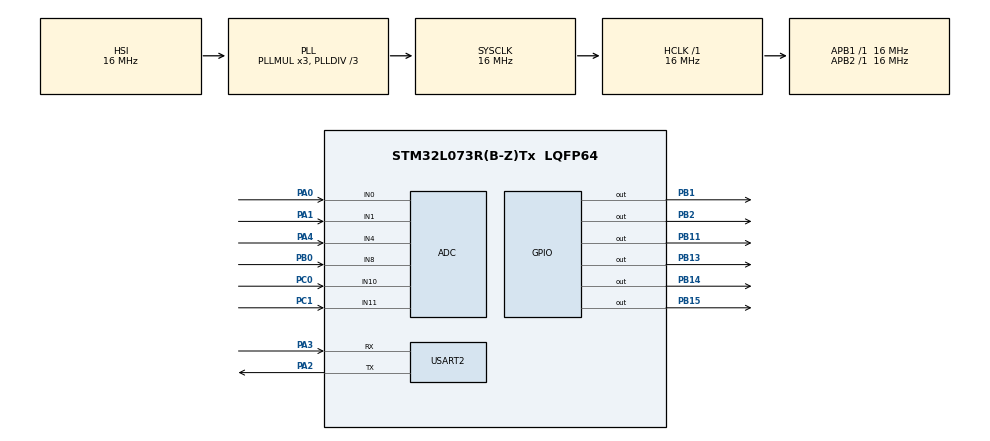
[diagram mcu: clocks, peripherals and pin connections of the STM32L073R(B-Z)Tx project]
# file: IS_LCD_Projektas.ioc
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ADC.ClockPrescaler=ADC_CLOCK_SYNC_PCLK_DIV2
ADC.ExternalTrigConv=ADC_SOFTWARE_START
ADC.SamplingTime=ADC_SAMPLETIME_160CYCLES_5
Dma.ADC.0.Direction=DMA_PERIPH_TO_MEMORY
Dma.ADC.0.Instance=DMA1_Channel1
Dma.ADC.0.MemDataAlignment=DMA_MDATAALIGN_HALFWORD
Dma.ADC.0.MemInc=DMA_MINC_ENABLE
Dma.ADC.0.Mode=DMA_CIRCULAR
Dma.ADC.0.PeriphDataAlignment=DMA_PDATAALIGN_HALFWORD
Dma.ADC.0.PeriphInc=DMA_PINC_DISABLE
Dma.ADC.0.Priority=DMA_PRIORITY_LOW
Dma.Request0=ADC
Mcu.Family=STM32L0
Mcu.Name=STM32L073R(B-Z)Tx
Mcu.Package=LQFP64
NVIC.DMA1_Channel1_IRQn=true\:0\:0\:false\:false\:true\:false\:true\:true
PA0.Mode=IN0
PA0.Signal=ADC_IN0
PA1.Mode=IN1
PA1.Signal=ADC_IN1
PA13.Mode=Serial_Wire
PA13.Signal=SYS_SWDIO
PA14.Mode=Serial_Wire
PA14.Signal=SYS_SWCLK
PA2.Mode=Asynchronous
PA2.Signal=USART2_TX
PA3.Mode=Asynchronous
PA3.Signal=USART2_RX
PA4.Mode=IN4
PA4.Signal=ADC_IN4
PB0.Mode=IN8
PB0.Signal=ADC_IN8
PB1.Signal=GPIO_Output
PB11.Signal=GPIO_Output
PB13.Signal=GPIO_Output
PB14.Signal=GPIO_Output
PB15.Signal=GPIO_Output
PB2.Signal=GPIO_Output
PC0.Mode=IN10
PC0.Signal=ADC_IN10
PC1.Mode=IN11
PC1.Signal=ADC_IN11
PC14-OSC32_IN.Mode=LSE-External-Oscillator
PC14-OSC32_IN.Signal=RCC_OSC32_IN
PC15-OSC32_OUT.Mode=LSE-External-Oscillator
PC15-OSC32_OUT.Signal=RCC_OSC32_OUT
ProjectManager.HeapSize=0x200
ProjectManager.StackSize=0x400
ProjectManager.TargetToolchain=MDK-ARM V5.32
RCC.AHBFreq_Value=16000000
RCC.APB1Freq_Value=16000000
RCC.APB1TimFreq_Value=16000000
RCC.APB2Freq_Value=16000000
RCC.APB2TimFreq_Value=16000000
RCC.HCLKFreq_Value=16000000
RCC.HSE_VALUE=8000000
RCC.HSI16_VALUE=16000000
RCC.HSI48_VALUE=48000000
RCC.HSI_VALUE=16000000
RCC.MSI_VALUE=2097000
RCC.PLLDIV=RCC_PLLDIV_3
RCC.SYSCLKFreq_VALUE=16000000
RCC.SYSCLKSource=RCC_SYSCLKSOURCE_PLLCLK
RCC.VCOOutputFreq_Value=48000000
TIM6.AutoReloadPreload=TIM_AUTORELOAD_PRELOAD_ENABLE
TIM6.Period=1000
TIM6.Prescaler=16000
TIM6.TIM_MasterOutputTrigger=TIM_TRGO_UPDATE
USART2.VirtualMode-Asynchronous=VM_ASYNC
VP_TIM6_VS_ClockSourceINT.Mode=Enable_Timer
board=custom

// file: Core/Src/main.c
/* USER CODE BEGIN Header */
/**
  ******************************************************************************
  * @file           : main.c
  * @brief          : Main program body
  ******************************************************************************
  * @attention
  *
  * Copyright (c) 2025 STMicroelectronics.
  * All rights reserved.
  *
  * This software is licensed under terms that can be found in the LICENSE file
  * in the root directory of this software component.
  * If no LICENSE file comes with this software, it is provided AS-IS.
  *
  ******************************************************************************
  */
/* USER CODE END Header */
#include "main.h"

/* USER CODE BEGIN Includes */
#include "LCD1602.h"
#include "stm32l0xx_hal.h"
#include <stdio.h>
#include <math.h>
/* USER CODE END Includes */

/* USER CODE BEGIN PD */
#define LCD_Update 2000 // 2 Sekundes LCD update
#define UART_Update 1000 // 1 Sekundes UART update
#define CALC_Update 300 // 300ms Skaiciavimu update

/* USER CODE END PD */

ADC_HandleTypeDef hadc;
DMA_HandleTypeDef hdma_adc;

TIM_HandleTypeDef htim6;

UART_HandleTypeDef huart2;

void SystemClock_Config(void);
static void MX_GPIO_Init(void);
static void MX_DMA_Init(void);
static void MX_TIM6_Init(void);
static void MX_ADC_Init(void);
static void MX_USART2_UART_Init(void);

/* USER CODE BEGIN 0 */
volatile uint16_t adc_values[6];
volatile uint8_t adc_flag = 0;

float voltage1;
float voltage2;
float voltage3;
float voltage4;
float voltage5;
float voltage6;

uint32_t lcd_last_tick = 0;
uint32_t uart_last_tick = 0;
uint32_t calc_last_tick = 0;

float avg;
char lcd_buffer[20];

uint8_t rxData;
char txMessage[20];

/* USER CODE END 0 */

int main(void)
{

  /* MCU Configuration--------------------------------------------------------*/

  /* Reset of all peripherals, Initializes the Flash interface and the Systick. */
  HAL_Init();

  /* Configure the system clock */
  SystemClock_Config();

  /* Initialize all configured peripherals */
  MX_GPIO_Init();
  MX_DMA_Init();
  MX_TIM6_Init();
  MX_ADC_Init();
  MX_USART2_UART_Init();
  /* USER CODE BEGIN 2 */

	LCD_Init();
	HAL_TIM_Base_Start(&htim6);
	HAL_ADCEx_Calibration_Start(&hadc, ADC_SINGLE_ENDED);
	HAL_ADC_Start_DMA(&hadc, (uint32_t*)adc_values, 6); // Paleid�iame ADC DMA
  /* USER CODE END 2 */

  /* Infinite loop */
  /* USER CODE BEGIN WHILE */

  while (1)
  {
		uint32_t currentTime = HAL_GetTick();
		if (adc_flag == 1)
		{
			if ((currentTime - calc_last_tick) >= CALC_Update){
				calc_last_tick = currentTime;

				adc_flag = 0;
				avg = 0;
				voltage1 = (adc_values[0] / 4095.0f) * 3.3f;
				voltage2 = (adc_values[1] / 4095.0f) * 3.3f;
				voltage3 = (adc_values[2] / 4095.0f) * 3.3f;
				voltage4 = (adc_values[3] / 4095.0f) * 3.3f;
				voltage5 = (adc_values[4] / 4095.0f) * 3.3f;
				voltage6 = (adc_values[5] / 4095.0f) * 3.3f;
				// -----
				if (voltage2 < 0.91){
					voltage2 = voltage2 * 11.0f;
					voltage1 = 0;
					if (voltage2 >= 0.1){
						avg += voltage2;
					}
					else{
						voltage2 = 0;
						avg += voltage2;
					}
				}
				else{
					voltage2 = 0;
					voltage1 = voltage1 * 6.5476f;
					avg += voltage1;
					// -----

				}
				if (voltage4 < 0.91){
					voltage4 = voltage4 * 11.0f;
					voltage3 = 0;
					if (voltage4 >= 0.1){
						avg += voltage4;
					}
					else{
						voltage4 = 0;
						avg += voltage4;
					}
				}
				else{
					voltage4 = 0;
					voltage3 = voltage3 * 6.5476f;
					avg += voltage3;
				}
				// -----

				if (voltage5 < 0.91){
					voltage5 = voltage5 * 11.0f;
					voltage6 = 0;
					if (voltage5 >= 0.1){
					avg += voltage5;
					}
					else{
						voltage5 = 0;
						avg += voltage5;
					}
				}
				else{
					voltage5 = 0;
					voltage6 = voltage6 * 6.5476f;
					avg += voltage6;
				}
				avg = avg/3;
			}
				// -----

	if ((currentTime - uart_last_tick) >= UART_Update){
		uart_last_tick = currentTime;

		snprintf(txMessage, sizeof(txMessage), "Vidurkis: %.2fV\r\n", avg);
		HAL_UART_Transmit(&huart2, (uint8_t *)txMessage, sizeof(txMessage), HAL_MAX_DELAY);
	}

	if ((currentTime - lcd_last_tick) >= LCD_Update){
				lcd_last_tick = currentTime;
				snprintf(lcd_buffer, sizeof(lcd_buffer), "Uavg=%.2fV", avg);
				LCD_SetCursor(0, 0);
				LCD_SendString(lcd_buffer);
			}
			HAL_ADC_Start_DMA(&hadc, (uint32_t*)adc_values, 6);
		}
    /* USER CODE END WHILE */

	}
}

void SystemClock_Config(void)
{
  RCC_OscInitTypeDef RCC_OscInitStruct = {0};
  RCC_ClkInitTypeDef RCC_ClkInitStruct = {0};
  RCC_PeriphCLKInitTypeDef PeriphClkInit = {0};

  /** Configure the main internal regulator output voltage
  */
  __HAL_PWR_VOLTAGESCALING_CONFIG(PWR_REGULATOR_VOLTAGE_SCALE1);

  /** Initializes the RCC Oscillators according to the specified parameters
  * in the RCC_OscInitTypeDef structure.
  */
  RCC_OscInitStruct.OscillatorType = RCC_OSCILLATORTYPE_HSI;
  RCC_OscInitStruct.HSIState = RCC_HSI_ON;
  RCC_OscInitStruct.HSICalibrationValue = RCC_HSICALIBRATION_DEFAULT;
  RCC_OscInitStruct.PLL.PLLState = RCC_PLL_ON;
  RCC_OscInitStruct.PLL.PLLSource = RCC_PLLSOURCE_HSI;
  RCC_OscInitStruct.PLL.PLLMUL = RCC_PLLMUL_3;
  RCC_OscInitStruct.PLL.PLLDIV = RCC_PLLDIV_3;
  if (HAL_RCC_OscConfig(&RCC_OscInitStruct) != HAL_OK)
  {
    Error_Handler();
  }

  /** Initializes the CPU, AHB and APB buses clocks
  */
  RCC_ClkInitStruct.ClockType = RCC_CLOCKTYPE_HCLK|RCC_CLOCKTYPE_SYSCLK
                              |RCC_CLOCKTYPE_PCLK1|RCC_CLOCKTYPE_PCLK2;
  RCC_ClkInitStruct.SYSCLKSource = RCC_SYSCLKSOURCE_PLLCLK;
  RCC_ClkInitStruct.AHBCLKDivider = RCC_SYSCLK_DIV1;
  RCC_ClkInitStruct.APB1CLKDivider = RCC_HCLK_DIV1;
  RCC_ClkInitStruct.APB2CLKDivider = RCC_HCLK_DIV1;

  if (HAL_RCC_ClockConfig(&RCC_ClkInitStruct, FLASH_LATENCY_0) != HAL_OK)
  {
    Error_Handler();
  }
  PeriphClkInit.PeriphClockSelection = RCC_PERIPHCLK_USART2;
  PeriphClkInit.Usart2ClockSelection = RCC_USART2CLKSOURCE_PCLK1;
  if (HAL_RCCEx_PeriphCLKConfig(&PeriphClkInit) != HAL_OK)
  {
    Error_Handler();
  }
}

static void MX_ADC_Init(void)
{

  ADC_ChannelConfTypeDef sConfig = {0};

  /** Configure the global features of the ADC (Clock, Resolution, Data Alignment and number of conversion)
  */
  hadc.Instance = ADC1;
  hadc.Init.OversamplingMode = DISABLE;
  hadc.Init.ClockPrescaler = ADC_CLOCK_SYNC_PCLK_DIV2;
  hadc.Init.Resolution = ADC_RESOLUTION_12B;
  hadc.Init.SamplingTime = ADC_SAMPLETIME_160CYCLES_5;
  hadc.Init.ScanConvMode = ADC_SCAN_DIRECTION_FORWARD;
  hadc.Init.DataAlign = ADC_DATAALIGN_RIGHT;
  hadc.Init.ContinuousConvMode = DISABLE;
  hadc.Init.DiscontinuousConvMode = DISABLE;
  hadc.Init.ExternalTrigConvEdge = ADC_EXTERNALTRIGCONVEDGE_NONE;
  hadc.Init.ExternalTrigConv = ADC_SOFTWARE_START;
  hadc.Init.DMAContinuousRequests = DISABLE;
  hadc.Init.EOCSelection = ADC_EOC_SINGLE_CONV;
  hadc.Init.Overrun = ADC_OVR_DATA_PRESERVED;
  hadc.Init.LowPowerAutoWait = DISABLE;
  hadc.Init.LowPowerFrequencyMode = DISABLE;
  hadc.Init.LowPowerAutoPowerOff = DISABLE;
  if (HAL_ADC_Init(&hadc) != HAL_OK)
  {
    Error_Handler();
  }

  /** Configure for the selected ADC regular channel to be converted.
  */
  sConfig.Channel = ADC_CHANNEL_0;
  sConfig.Rank = ADC_RANK_CHANNEL_NUMBER;
  if (HAL_ADC_ConfigChannel(&hadc, &sConfig) != HAL_OK)
  {
    Error_Handler();
  }

  /** Configure for the selected ADC regular channel to be converted.
  */
  sConfig.Channel = ADC_CHANNEL_1;
  if (HAL_ADC_ConfigChannel(&hadc, &sConfig) != HAL_OK)
  {
    Error_Handler();
  }

  /** Configure for the selected ADC regular channel to be converted.
  */
  sConfig.Channel = ADC_CHANNEL_4;
  if (HAL_ADC_ConfigChannel(&hadc, &sConfig) != HAL_OK)
  {
    Error_Handler();
  }

  /** Configure for the selected ADC regular channel to be converted.
  */
  sConfig.Channel = ADC_CHANNEL_8;
  if (HAL_ADC_ConfigChannel(&hadc, &sConfig) != HAL_OK)
  {
    Error_Handler();
  }

  /** Configure for the selected ADC regular channel to be converted.
  */
  sConfig.Channel = ADC_CHANNEL_10;
  if (HAL_ADC_ConfigChannel(&hadc, &sConfig) != HAL_OK)
  {
    Error_Handler();
  }

  /** Configure for the selected ADC regular channel to be converted.
  */
  sConfig.Channel = ADC_CHANNEL_11;
  if (HAL_ADC_ConfigChannel(&hadc, &sConfig) != HAL_OK)
  {
    Error_Handler();
  }

}

static void MX_TIM6_Init(void)
{

  TIM_MasterConfigTypeDef sMasterConfig = {0};

  htim6.Instance = TIM6;
  htim6.Init.Prescaler = 16000;
  htim6.Init.CounterMode = TIM_COUNTERMODE_UP;
  htim6.Init.Period = 1000;
  htim6.Init.AutoReloadPreload = TIM_AUTORELOAD_PRELOAD_ENABLE;
  if (HAL_TIM_Base_Init(&htim6) != HAL_OK)
  {
    Error_Handler();
  }
  sMasterConfig.MasterOutputTrigger = TIM_TRGO_UPDATE;
  sMasterConfig.MasterSlaveMode = TIM_MASTERSLAVEMODE_DISABLE;
  if (HAL_TIMEx_MasterConfigSynchronization(&htim6, &sMasterConfig) != HAL_OK)
  {
    Error_Handler();
  }

}

static void MX_USART2_UART_Init(void)
{

  huart2.Instance = USART2;
  huart2.Init.BaudRate = 115200;
  huart2.Init.WordLength = UART_WORDLENGTH_8B;
  huart2.Init.StopBits = UART_STOPBITS_1;
  huart2.Init.Parity = UART_PARITY_NONE;
  huart2.Init.Mode = UART_MODE_TX_RX;
  huart2.Init.HwFlowCtl = UART_HWCONTROL_NONE;
  huart2.Init.OverSampling = UART_OVERSAMPLING_16;
  huart2.Init.OneBitSampling = UART_ONE_BIT_SAMPLE_DISABLE;
  huart2.AdvancedInit.AdvFeatureInit = UART_ADVFEATURE_NO_INIT;
  if (HAL_UART_Init(&huart2) != HAL_OK)
  {
    Error_Handler();
  }

}

static void MX_DMA_Init(void)
{

  /* DMA controller clock enable */
  __HAL_RCC_DMA1_CLK_ENABLE();

  /* DMA interrupt init */
  /* DMA1_Channel1_IRQn interrupt configuration */
  HAL_NVIC_SetPriority(DMA1_Channel1_IRQn, 0, 0);
  HAL_NVIC_EnableIRQ(DMA1_Channel1_IRQn);

}

static void MX_GPIO_Init(void)
{
  GPIO_InitTypeDef GPIO_InitStruct = {0};

  /* GPIO Ports Clock Enable */
  __HAL_RCC_GPIOC_CLK_ENABLE();
  __HAL_RCC_GPIOA_CLK_ENABLE();
  __HAL_RCC_GPIOB_CLK_ENABLE();

  /*Configure GPIO pin Output Level */
  HAL_GPIO_WritePin(GPIOB, GPIO_PIN_1|GPIO_PIN_2|GPIO_PIN_11|GPIO_PIN_13
                          |GPIO_PIN_14|GPIO_PIN_15, GPIO_PIN_RESET);

  /*Configure GPIO pins : PB1 PB2 PB11 PB13
                           PB14 PB15 */
  GPIO_InitStruct.Pin = GPIO_PIN_1|GPIO_PIN_2|GPIO_PIN_11|GPIO_PIN_13
                          |GPIO_PIN_14|GPIO_PIN_15;
  GPIO_InitStruct.Mode = GPIO_MODE_OUTPUT_PP;
  GPIO_InitStruct.Pull = GPIO_NOPULL;
  GPIO_InitStruct.Speed = GPIO_SPEED_FREQ_LOW;
  HAL_GPIO_Init(GPIOB, &GPIO_InitStruct);

  /* USER CODE BEGIN MX_GPIO_Init_2 */
	GPIO_InitStruct.Pin = GPIO_PIN_0|GPIO_PIN_1; // pc0 pc1
	GPIO_InitStruct.Mode = GPIO_MODE_ANALOG;
	GPIO_InitStruct.Pull = GPIO_NOPULL; // Enable internal pull-down
	HAL_GPIO_Init(GPIOC, &GPIO_InitStruct);
  /* USER CODE END MX_GPIO_Init_2 */
}

/* USER CODE BEGIN 4 */
void HAL_ADC_ConvCpltCallback(ADC_HandleTypeDef* hadc)
{
	adc_flag = 1;
}

/* USER CODE END 4 */

void Error_Handler(void)
{
  __disable_irq();
  while (1)
  {
  }
}
